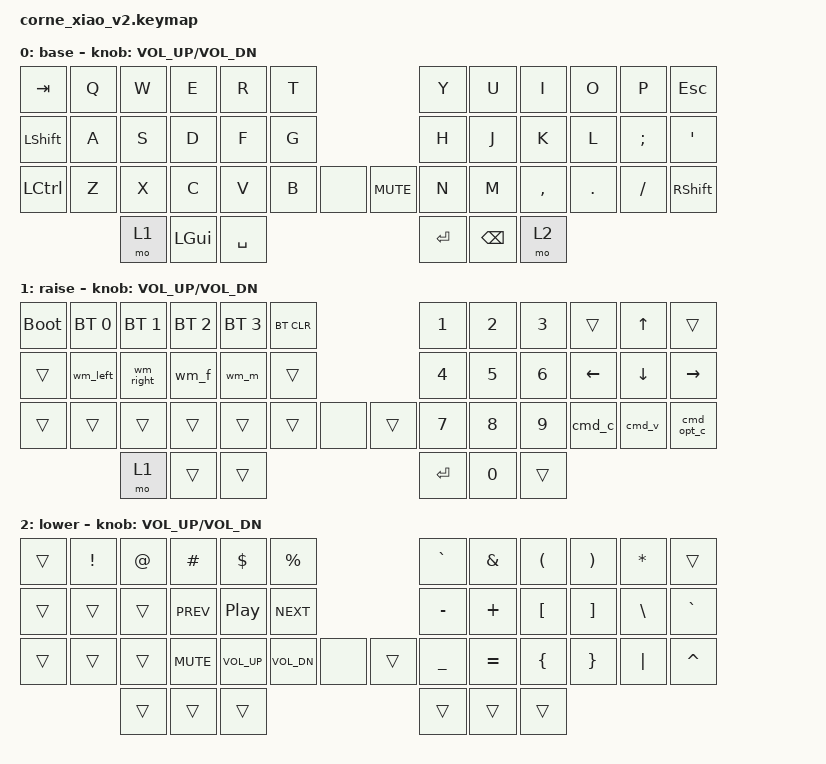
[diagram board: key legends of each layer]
#include "corne_xiao_v2.dtsi"
#include <behaviors.dtsi>
#include <dt-bindings/zmk/keys.h>
#include <dt-bindings/zmk/bt.h>

/ {
    combos {
        compatible = "zmk,combos";
        combo_studio_unlock {
            timeout-ms = <50>;
            key-positions = <0 1>;
            bindings = <&studio_unlock>;
        };
    };

    macros {

        // ── Window manager ──────────────────────────────────────────
        wm_left: wm_left {
            compatible = "zmk,behavior-macro";
            #binding-cells = <0>;
            bindings
                = <&macro_press &kp LGUI &kp LALT>
                , <&macro_tap &kp LEFT>
                , <&macro_release &kp LGUI &kp LALT>;
        };

        wm_right: wm_right {
            compatible = "zmk,behavior-macro";
            #binding-cells = <0>;
            bindings
                = <&macro_press &kp LGUI &kp LALT>
                , <&macro_tap &kp RIGHT>
                , <&macro_release &kp LGUI &kp LALT>;
        };

        wm_f: wm_f {
            compatible = "zmk,behavior-macro";
            #binding-cells = <0>;
            bindings
                = <&macro_press &kp LGUI &kp LALT>
                , <&macro_tap &kp F>
                , <&macro_release &kp LGUI &kp LALT>;
        };

        wm_m: wm_m {
            compatible = "zmk,behavior-macro";
            #binding-cells = <0>;
            bindings
                = <&macro_press &kp LGUI &kp LALT>
                , <&macro_tap &kp M>
                , <&macro_release &kp LGUI &kp LALT>;
        };

        // ── Copy / paste ────────────────────────────────────────────
        cmd_c: cmd_c {
            compatible = "zmk,behavior-macro";
            #binding-cells = <0>;
            bindings
                = <&macro_press &kp LGUI>
                , <&macro_tap &kp C>
                , <&macro_release &kp LGUI>;
        };

        cmd_v: cmd_v {
            compatible = "zmk,behavior-macro";
            #binding-cells = <0>;
            bindings
                = <&macro_press &kp LGUI>
                , <&macro_tap &kp V>
                , <&macro_release &kp LGUI>;
        };

        cmd_opt_c: cmd_opt_c {
            compatible = "zmk,behavior-macro";
            #binding-cells = <0>;
            bindings
                = <&macro_press &kp LGUI &kp LALT>
                , <&macro_tap &kp C>
                , <&macro_release &kp LGUI &kp LALT>;
        };
    };

    keymap {
        compatible = "zmk,keymap";

        // ─── Layer 0 · Base ─────────────────────────────────────────
        //
        // TAB   Q    W    E    R    T    |    Y    U    I    O    P    ESC
        // SHFT  A    S    D    F    G    |    H    J    K    L    ;    '
        // CTRL  Z    X    C    V    B    |    N    M    ,    .    /    SHFT
        //            MO1  CMD  SPC      |    ENT  BSP  MO2

        default_layer {
            display-name = "base";
            sensor-bindings = <&inc_dec_kp C_VOL_UP C_VOL_DN>;
            bindings = <
&kp TAB   &kp Q &kp W &kp E &kp R &kp T                     &kp Y   &kp U    &kp I     &kp O   &kp P    &kp ESC
&kp LSHFT &kp A &kp S &kp D &kp F &kp G                     &kp H   &kp J    &kp K     &kp L   &kp SEMI &kp SQT
&kp LCTRL &kp Z &kp X &kp C &kp V &kp B  &none &kp C_MUTE   &kp N   &kp M    &kp COMMA &kp DOT &kp FSLH &kp RSHFT
                 &mo 1 &kp LGUI &kp SPACE                    &kp RET &kp BSPC &mo 2
            >;
        };

        // ─── Layer 1 · Raise ────────────────────────────────────────
        //
        // BOOT  BT0  BT1  BT2  BT3  CLR  |    1    2    3    ---  UP   ---
        // ---   WM←  WM→  WMF  WMM  ---  |    4    5    6    LFT  DWN  RGT
        // ---   ---  ---  ---  ---  ---  |    7    8    9    ⌘C   ⌘V   ⌘⌥C
        //            MO1  ---  ---       |    ENT  0    ---

        raise_layer {
            display-name = "raise";
            sensor-bindings = <&inc_dec_kp C_VOL_UP C_VOL_DN>;
            bindings = <
&bootloader &bt BT_SEL 0 &bt BT_SEL 1 &bt BT_SEL 2 &bt BT_SEL 3 &bt BT_CLR                  &kp N1  &kp N2  &kp N3  &trans   &kp UP   &trans
&trans      &wm_left     &wm_right    &wm_f        &wm_m        &trans                       &kp N4  &kp N5  &kp N6  &kp LEFT &kp DOWN &kp RIGHT
&trans      &trans       &trans       &trans       &trans       &trans  &none &trans          &kp N7  &kp N8  &kp N9  &cmd_c   &cmd_v   &cmd_opt_c
                         &mo 1        &trans       &trans                                     &kp RET &kp N0  &trans
            >;
        };

        // ─── Layer 2 · Lower ────────────────────────────────────────
        //
        // ---   !    @    #    $    %    |    `    &    (    )    *    ---
        // ---   ---  ---  PRV  PP   NXT  |    -    +    [    ]    \    `
        // ---   ---  ---  MUT  V+   V-   |    _    =    {    }    |    ^
        //            ---  ---  ---       |    ---  ---  ---

        lower_layer {
            display-name = "lower";
            sensor-bindings = <&inc_dec_kp C_VOL_UP C_VOL_DN>;
            bindings = <
&trans &kp EXCL &kp AT &kp HASH   &kp DLLR     &kp PRCNT                      &kp GRAVE &kp AMPS  &kp LPAR &kp RPAR &kp STAR &trans
&trans &trans   &trans &kp C_PREV &kp C_PP     &kp C_NEXT                     &kp MINUS &kp PLUS  &kp LBKT &kp RBKT &kp BSLH &kp GRAVE
&trans &trans   &trans &kp C_MUTE &kp C_VOL_UP &kp C_VOL_DN &none &trans      &kp UNDER &kp EQUAL &kp LBRC &kp RBRC &kp PIPE &kp CARET
               &trans  &trans     &trans                                        &trans    &trans    &trans
            >;
        };
    };
};
